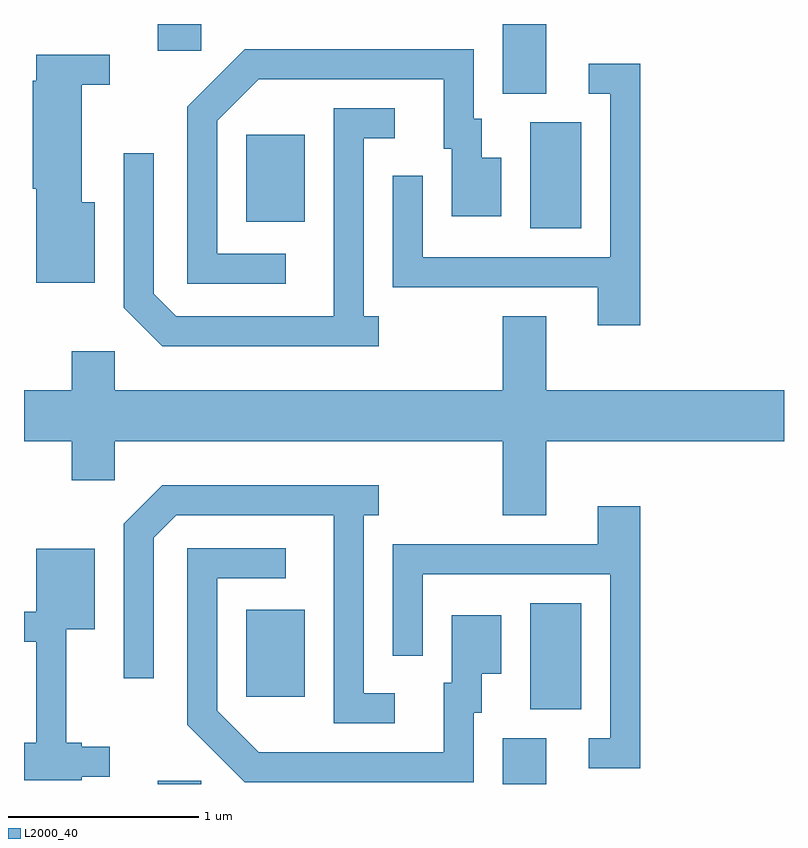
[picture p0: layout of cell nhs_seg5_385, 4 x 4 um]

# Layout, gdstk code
import gdstk
lib = gdstk.Library(unit=1e-6, precision=1e-09)
def R(c, l, rs):  # rectangles x0, y0, x1, y1
    for r in rs: c.add(gdstk.rectangle(r[:2], r[2:], *l))
def P(c, l, *ps):  # polygons
    for p in ps: c.add(gdstk.Polygon(p, *l))
L2000_40 = (2000, 40)

nhs_seg5_385 = lib.new_cell('nhs_seg5_385')
R(nhs_seg5_385, L2000_40, [(196.316,1486.072,196.544,1486.089), (198.131,1486.072,198.359,1486.314), (198.276,1486.466,198.544,1487.024), (196.781,1486.531,197.089,1486.989), (198.276,1488.996,198.544,1489.554), (196.781,1489.031,197.089,1489.489), (198.131,1489.706,198.359,1490.072), (196.316,1489.931,196.544,1490.072)])
P(nhs_seg5_385, L2000_40, [(196.988,1488.864),(196.629,1488.864),(196.629,1489.564),(196.847,1489.781),(197.821,1489.781),(197.821,1489.416),(197.861,1489.416),(197.861,1489.061),(198.124,1489.061),(198.124,1489.369),(198.019,1489.369),(198.019,1489.574),(197.979,1489.574),(197.979,1489.939),(196.774,1489.939),(196.471,1489.637),(196.471,1488.706),(196.988,1488.706)],
  [(195.984,1489.134),(195.914,1489.134),(195.914,1489.751),(196.063,1489.751),(196.063,1489.909),(195.676,1489.909),(195.676,1489.774),(195.656,1489.774),(195.656,1489.206),(195.676,1489.206),(195.676,1488.711),(195.984,1488.711)],
  [(198.854,1489.864),(198.583,1489.864),(198.583,1489.706),(198.696,1489.706),(198.696,1488.844),(197.709,1488.844),(197.709,1489.273),(197.551,1489.273),(197.551,1488.686),(198.631,1488.686),(198.631,1488.486),(198.854,1488.486)],
  [(197.478,1488.534),(197.399,1488.534),(197.399,1489.471),(197.563,1489.471),(197.563,1489.629),(197.241,1489.629),(197.241,1488.534),(196.412,1488.534),(196.294,1488.652),(196.294,1489.393),(196.136,1489.393),(196.136,1488.579),(196.339,1488.376),(197.478,1488.376)],
  [(198.359,1487.876),(199.611,1487.876),(199.611,1488.144),(198.359,1488.144),(198.359,1488.534),(198.131,1488.534),(198.131,1488.144),(196.089,1488.144),(196.089,1488.349),(195.861,1488.349),(195.861,1488.144),(195.611,1488.144),(195.611,1487.876),(195.861,1487.876),(195.861,1487.671),(196.089,1487.671),(196.089,1487.876),(198.131,1487.876),(198.131,1487.486),(198.359,1487.486)],
  [(197.563,1486.549),(197.399,1486.549),(197.399,1487.486),(197.478,1487.486),(197.478,1487.644),(196.339,1487.644),(196.136,1487.442),(196.136,1486.628),(196.294,1486.628),(196.294,1487.369),(196.412,1487.486),(197.241,1487.486),(197.241,1486.391),(197.563,1486.391)],
  [(198.854,1487.534),(198.631,1487.534),(198.631,1487.334),(197.551,1487.334),(197.551,1486.748),(197.709,1486.748),(197.709,1487.176),(198.696,1487.176),(198.696,1486.314),(198.583,1486.314),(198.583,1486.156),(198.854,1486.156)],
  [(197.979,1486.446),(198.019,1486.446),(198.019,1486.651),(198.124,1486.651),(198.124,1486.959),(197.861,1486.959),(197.861,1486.604),(197.821,1486.604),(197.821,1486.239),(196.847,1486.239),(196.629,1486.457),(196.629,1487.156),(196.988,1487.156),(196.988,1487.314),(196.471,1487.314),(196.471,1486.384),(196.774,1486.081),(197.979,1486.081)],
  [(195.914,1486.111),(196.063,1486.111),(196.063,1486.269),(195.914,1486.269),(195.914,1486.289),(195.834,1486.289),(195.834,1486.886),(195.984,1486.886),(195.984,1487.309),(195.676,1487.309),(195.676,1486.979),(195.611,1486.979),(195.611,1486.821),(195.676,1486.821),(195.676,1486.289),(195.611,1486.289),(195.611,1486.091),(195.914,1486.091)])

lib.write_gds('nhs_seg5_385.gds')
